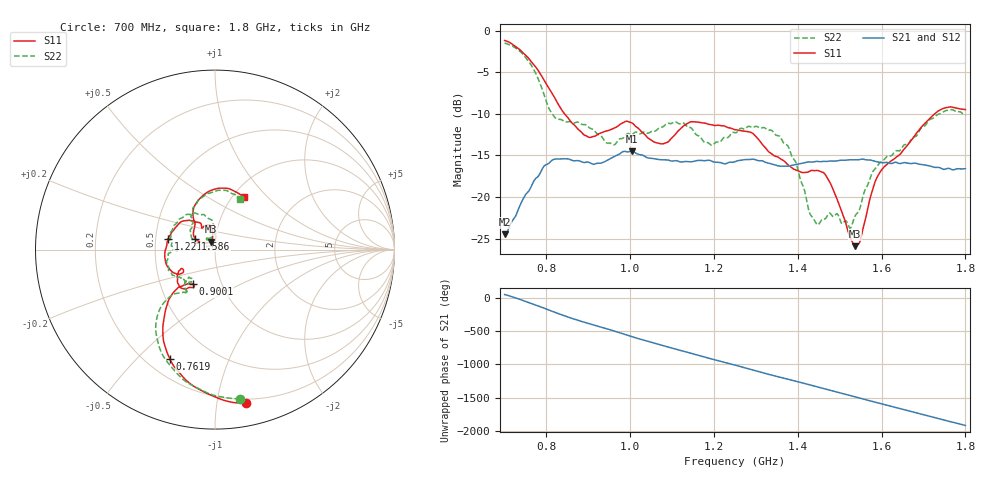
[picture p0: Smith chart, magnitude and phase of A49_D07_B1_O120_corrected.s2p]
! Created with skrf 1.9.0 (http://scikit-rf.org).
# Hz S RI R 50.0
!freq ReS11 ImS11 ReS21 ImS21 ReS12 ImS12 ReS22 ImS22
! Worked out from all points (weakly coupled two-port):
!   1601 points, 700 MHz to 1.8 GHz, reference 50 ohm
!   highest |S21| = -14.48 dB at 1.003 GHz (marker M1); lowest = -24.5 dB at 700.7 MHz (marker M2)
!   lowest |S11| = -25.9 dB at 1.537 GHz (marker M3), VSWR 1.11, Z = 47.5 + j4.28 ohm
!   |S11| at or under -10 dB: 843.2 MHz to 1.726 GHz (883.2 MHz wide, 68.7 % of centre)
!   |S22| runs from -23.7 to -1.5 dB; largest |S21 - S12| = 0.0034
!   S11 on the Smith chart (normalised r, x): 700 MHz: 0.17, -1.21; 761.9 MHz: 0.29, -0.63; 900.1 MHz: 0.73, -0.30; 1.221 GHz: 0.58, +0.07; 1.586 GHz: 0.79, +0.10; 1.8 GHz: 1.12, +0.74
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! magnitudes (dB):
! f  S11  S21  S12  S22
! 700 MHz  -1.2  -24.5  -24.3  -1.5
! 700.7 MHz  -1.2  -24.5  -24.2  -1.5
! 761.9 MHz  -3.6  -18.9  -18.8  -4.0
! 818.2 MHz  -7.9  -15.5  -15.6  -10.3
! 883.6 MHz  -12.2  -15.8  -15.7  -11.2
! 900.1 MHz  -12.8  -15.8  -15.8  -11.6
! 958.5 MHz  -11.8  -15.2  -15.2  -13.7
! 1.003 GHz  -11.1  -14.5  -14.6  -12.5
! 1.067 GHz  -13.5  -15.5  -15.4  -11.8
! 1.143 GHz  -11.0  -15.8  -15.8  -11.6
! 1.221 GHz  -11.4  -16.0  -16.0  -13.0
! 1.25 GHz  -11.9  -15.8  -15.7  -12.3
! 1.357 GHz  -15.4  -16.3  -16.2  -12.7
! 1.395 GHz  -16.7  -16.1  -16.1  -15.8
! 1.434 GHz  -16.8  -15.8  -15.8  -22.3
! 1.473 GHz  -17.9  -15.7  -15.7  -22.0
! 1.524 GHz  -24.7  -15.5  -15.5  -23.7
! 1.537 GHz  -25.9  -15.5  -15.5  -22.3
! 1.586 GHz  -17.9  -15.7  -15.7  -16.5
! 1.617 GHz  -15.9  -15.9  -15.9  -15.0
! 1.733 GHz  -9.7  -16.4  -16.5  -10.1
! 1.8 GHz  -9.5  -16.6  -16.6  -10.1
